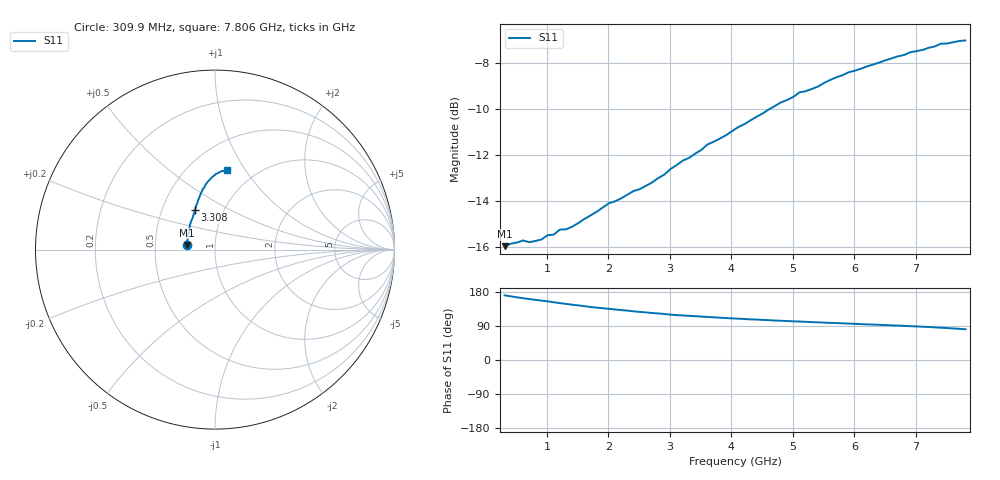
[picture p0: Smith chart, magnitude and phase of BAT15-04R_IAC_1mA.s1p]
! Infineon Technologies  Discrete & RF Semiconductors
! BAT15-04R
! IAC = 1 mA
! One-Port S-Parameters
# Hz  S  MA  R  50
!f  S11
!Hz  Mag  Ang
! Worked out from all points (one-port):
!   76 points, 309.9 MHz to 7.806 GHz, reference 50 ohm
!   lowest |S11| = -16.0 dB at 309.9 MHz (marker M1), VSWR 1.38, Z = 36.4 + j1.93 ohm
!   |S11| at or under -10 dB: start of sweep to 4.609 GHz
!   S11 on the Smith chart (normalised r, x): 309.9 MHz: 0.73, +0.04; 3.308 GHz: 0.73, +0.35; 7.806 GHz: 0.75, +0.83
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3.0985e8  0.1592 170.7
6.097e8  0.1638 163.1
7.0965e8  0.1625 160.8
9.0955e8  0.1646 156.7
1.0095e9  0.1682 154.8
1.10945e9  0.1687 152.4
1.2094e9  0.1731 150.1
1.30935e9  0.1733 148.0
1.50925e9  0.1788 144.1
2.009e9  0.1976 135.1
2.2089e9  0.2025 131.7
2.70865e9  0.2192 124.1
3.2084e9  0.2446 117.6
3.30835e9  0.2479 116.6
3.6082e9  0.2651 113.7
3.90805e9  0.2776 110.8
4.10795e9  0.2892 109.1
4.8076e9  0.3276 103.5
5.0075e9  0.3367 102.0
5.10745e9  0.3445 101.5
5.4073e9  0.3546 99.4
5.70715e9  0.3715 97.4
6.007e9  0.384 95.4
6.4068e9  0.4002 92.9
6.90655e9  0.4212 89.3
7.10645e9  0.426 87.9
7.4063e9  0.4397 85.1
7.8061e9  0.4469 81.2
